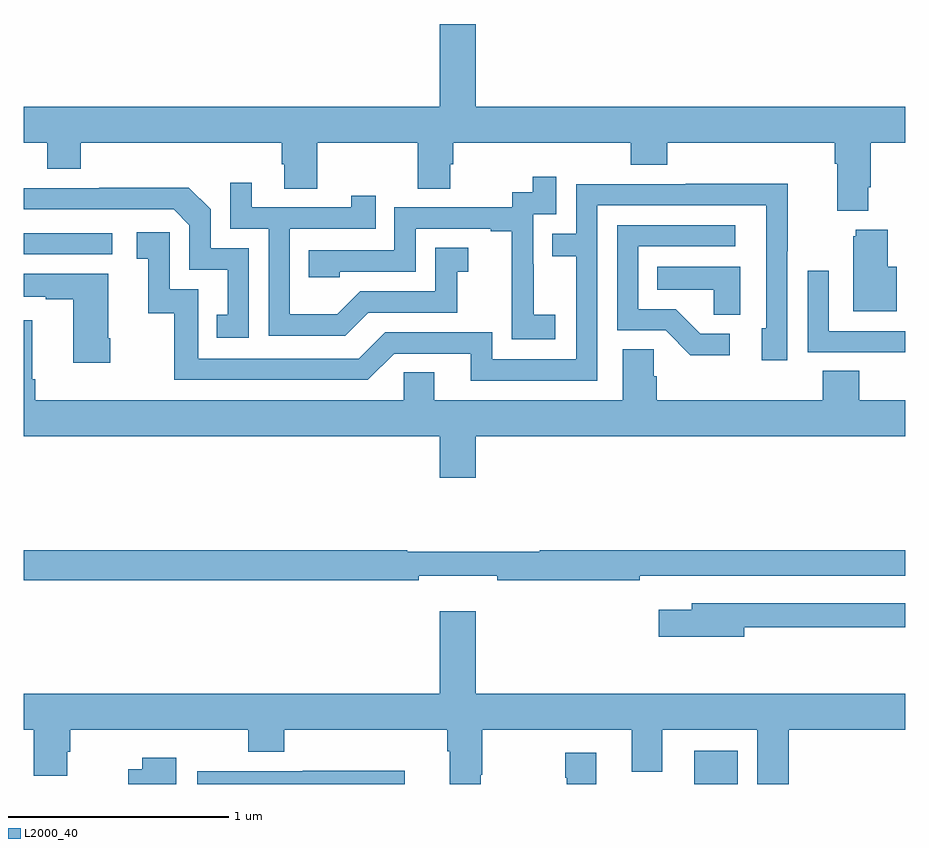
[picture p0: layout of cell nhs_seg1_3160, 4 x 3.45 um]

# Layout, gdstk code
import gdstk
lib = gdstk.Library(unit=1e-6, precision=1e-09)
def R(c, l, rs):  # rectangles x0, y0, x1, y1
    for r in rs: c.add(gdstk.rectangle(r[:2], r[2:], *l))
def P(c, l, *ps):  # polygons
    for p in ps: c.add(gdstk.Polygon(p, *l))
L2000_40 = (2000, 40)

nhs_seg1_3160 = lib.new_cell('nhs_seg1_3160')
R(nhs_seg1_3160, L2000_40, [(286.043,506.199,286.239,506.35), (283,508.602,283.402,508.698)])
P(nhs_seg1_3160, L2000_40, [(286.831,508.906),(286.844,508.906),(286.844,509.108),(287,509.108),(287,509.272),(285.052,509.272),(285.052,509.647),(284.888,509.647),(284.888,509.272),(283,509.272),(283,509.108),(283.106,509.108),(283.106,508.991),(283.259,508.991),(283.259,509.108),(284.171,509.108),(284.171,509.01),(284.183,509.01),(284.183,508.9),(284.331,508.9),(284.331,509.108),(284.788,509.108),(284.788,508.9),(284.935,508.9),(284.935,509.01),(284.948,509.01),(284.948,509.108),(285.755,509.108),(285.755,509.009),(285.92,509.009),(285.92,509.108),(286.679,509.108),(286.679,509.012),(286.691,509.012),(286.691,508.799),(286.831,508.799)],
  [(285.412,508.327),(285.314,508.327),(285.314,508.556),(285.312,508.556),(285.312,508.785),(285.417,508.785),(285.417,508.954),(285.309,508.954),(285.309,508.884),(285.216,508.884),(285.216,508.815),(284.682,508.815),(284.682,508.62),(284.293,508.62),(284.293,508.497),(284.433,508.497),(284.433,508.524),(284.778,508.524),(284.778,508.719),(285.119,508.719),(285.119,508.707),(285.215,508.707),(285.215,508.423),(285.214,508.423),(285.214,508.217),(285.412,508.217)],
  [(284.563,508.338),(284.967,508.338),(284.967,508.523),(285.016,508.523),(285.016,508.633),(284.868,508.633),(284.868,508.434),(284.526,508.434),(284.422,508.33),(284.208,508.33),(284.208,508.719),(284.597,508.719),(284.597,508.867),(284.486,508.867),(284.486,508.815),(284.035,508.815),(284.035,508.927),(283.938,508.927),(283.938,508.719),(284.112,508.719),(284.112,508.233),(284.458,508.233)],
  [(285.603,508.824),(286.368,508.824),(286.368,508.266),(286.349,508.266),(286.349,508.122),(286.464,508.122),(286.464,508.615),(286.467,508.615),(286.467,508.922),(286.003,508.922),(286.003,508.92),(285.507,508.92),(285.507,508.695),(285.397,508.695),(285.397,508.594),(285.507,508.594),(285.507,508.125),(285.126,508.125),(285.126,508.248),(284.64,508.248),(284.52,508.128),(283.791,508.128),(283.791,508.443),(283.662,508.443),(283.662,508.702),(283.512,508.702),(283.512,508.581),(283.565,508.581),(283.565,508.335),(283.683,508.335),(283.683,508.032),(284.562,508.032),(284.682,508.152),(285.029,508.152),(285.029,508.029),(285.603,508.029)],
  [(284.022,508.629),(283.848,508.629),(283.848,508.806),(283.75,508.904),(283.342,508.904),(283.342,508.902),(283,508.902),(283,508.806),(283.68,508.806),(283.752,508.734),(283.752,508.533),(283.925,508.533),(283.925,508.329),(283.876,508.329),(283.876,508.224),(284.022,508.224)],
  [(286.204,508.242),(286.069,508.242),(285.958,508.353),(285.789,508.353),(285.789,508.638),(286.228,508.638),(286.228,508.734),(285.693,508.734),(285.693,508.257),(285.912,508.257),(286.025,508.145),(286.204,508.145)],
  [(286.96,508.546),(286.921,508.546),(286.921,508.714),(286.775,508.714),(286.775,508.683),(286.763,508.683),(286.763,508.343),(286.96,508.343)],
  [(286.252,508.546),(285.874,508.546),(285.874,508.442),(286.131,508.442),(286.131,508.327),(286.252,508.327)],
  [(287,508.254),(286.653,508.254),(286.653,508.528),(286.557,508.528),(286.557,508.158),(286.873,508.158),(286.873,508.157),(287,508.157)],
  [(283.392,508.222),(283.384,508.222),(283.384,508.513),(283,508.513),(283,508.409),(283.1,508.409),(283.1,508.399),(283.226,508.399),(283.226,508.11),(283.392,508.11)],
  [(285.052,507.776),(287,507.776),(287,507.94),(286.79,507.94),(286.79,508.073),(286.625,508.073),(286.625,507.94),(285.872,507.94),(285.872,508.049),(285.858,508.049),(285.858,508.172),(285.719,508.172),(285.719,507.94),(284.863,507.94),(284.863,508.067),(284.724,508.067),(284.724,507.94),(283.052,507.94),(283.052,508.036),(283.039,508.036),(283.039,508.303),(283,508.303),(283,507.776),(284.888,507.776),(284.888,507.588),(285.052,507.588)],
  [(284.792,507.143),(285.148,507.143),(285.148,507.124),(285.794,507.124),(285.794,507.144),(287,507.144),(287,507.26),(285.341,507.26),(285.341,507.253),(284.741,507.253),(284.741,507.26),(283,507.26),(283,507.124),(284.792,507.124)],
  [(286.27,506.91),(287,506.91),(287,507.018),(286.031,507.018),(286.031,506.989),(285.882,506.989),(285.882,506.867),(286.27,506.867)],
  [(283,506.444),(283.046,506.444),(283.046,506.236),(283.198,506.236),(283.198,506.346),(283.211,506.346),(283.211,506.444),(284.018,506.444),(284.018,506.345),(284.183,506.345),(284.183,506.444),(284.921,506.444),(284.921,506.348),(284.933,506.348),(284.933,506.199),(285.073,506.199),(285.073,506.242),(285.081,506.242),(285.081,506.444),(285.758,506.444),(285.758,506.254),(285.898,506.254),(285.898,506.444),(286.328,506.444),(286.328,506.199),(286.472,506.199),(286.472,506.444),(287,506.444),(287,506.608),(285.052,506.608),(285.052,506.983),(284.888,506.983),(284.888,506.608),(283,506.608)],
  [(285.598,506.341),(285.457,506.341),(285.457,506.228),(285.464,506.228),(285.464,506.199),(285.598,506.199)],
  [(283.693,506.317),(283.537,506.317),(283.537,506.265),(283.474,506.265),(283.474,506.199),(283.693,506.199)],
  [(284.729,506.258),(284.266,506.258),(284.266,506.256),(283.788,506.256),(283.788,506.199),(284.729,506.199)])

lib.write_gds('nhs_seg1_3160.gds')
